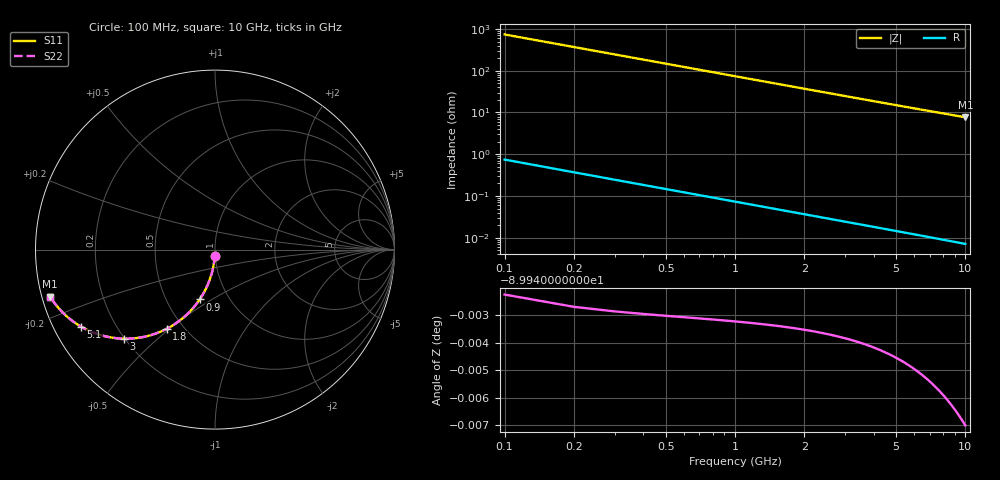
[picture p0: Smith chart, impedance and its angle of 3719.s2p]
# Hz S RI R 50.00
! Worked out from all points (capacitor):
!   100 points, 100 MHz to 10 GHz, reference 50 ohm
!   read as one part in shunt: C = 2.16 pF near 100 MHz
!   lowest |Z| = 7.68 ohm at 10 GHz (marker M1)
!   S11 on the Smith chart (normalised r, x): 100 MHz: 1.00, -0.07; 900 MHz: 0.73, -0.44; 1.8 GHz: 0.40, -0.49; 3 GHz: 0.20, -0.39; 5.1 GHz: 0.08, -0.27; 10 GHz: 0.02, -0.14
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1e8  -0.00116 -0.0337  0.9988 -0.0339  0.9988 -0.0339  -0.00116 -0.0337
2e8  -0.00461 -0.0672  0.9954 -0.0676  0.9954 -0.0676  -0.00461 -0.0672
3e8  -0.0103 -0.1002  0.9897 -0.1008  0.9897 -0.1008  -0.0103 -0.1002
4e8  -0.0181 -0.1325  0.9819 -0.1333  0.9819 -0.1333  -0.0181 -0.1325
5e8  -0.028 -0.164  0.972 -0.165  0.972 -0.165  -0.028 -0.164
6e8  -0.0398 -0.1943  0.9602 -0.1956  0.9602 -0.1956  -0.0398 -0.1943
7e8  -0.0533 -0.2235  0.9467 -0.2249  0.9467 -0.2249  -0.0533 -0.2235
9e8  -0.0851 -0.2776  0.9149 -0.2794  0.9149 -0.2794  -0.0851 -0.2776
1.1e9  -0.1218 -0.3255  0.8782 -0.3277  0.8782 -0.3277  -0.1218 -0.3255
1.3e9  -0.1621 -0.3668  0.8378 -0.3694  0.8378 -0.3694  -0.1621 -0.3668
1.5e9  -0.2047 -0.4015  0.7952 -0.4046  0.7952 -0.4046  -0.2047 -0.4015
1.8e9  -0.2702 -0.4417  0.7298 -0.4454  0.7298 -0.4454  -0.2702 -0.4417
2.1e9  -0.3348 -0.4692  0.6652 -0.4736  0.6652 -0.4736  -0.3348 -0.4692
2.4e9  -0.3963 -0.4862  0.6036 -0.4911  0.6036 -0.4911  -0.3963 -0.4862
3e9  -0.5058 -0.4963  0.4941 -0.5026  0.4941 -0.5026  -0.5058 -0.4963
3.4e9  -0.5677 -0.4913  0.4322 -0.4984  0.4322 -0.4984  -0.5677 -0.4913
4.2e9  -0.6666 -0.4665  0.3333 -0.4753  0.3333 -0.4753  -0.6666 -0.4665
5.1e9  -0.7464 -0.4292  0.2535 -0.4399  0.2535 -0.4399  -0.7464 -0.4292
5.9e9  -0.7974 -0.3952  0.2025 -0.4077  0.2025 -0.4077  -0.7974 -0.3952
6.7e9  -0.8353 -0.3632  0.1646 -0.3775  0.1646 -0.3775  -0.8353 -0.3632
8.4e9  -0.8886 -0.305  0.1112 -0.3231  0.1112 -0.3231  -0.8886 -0.305
1e10  -0.9189 -0.2614  0.0809 -0.2832  0.0809 -0.2832  -0.9189 -0.2614
